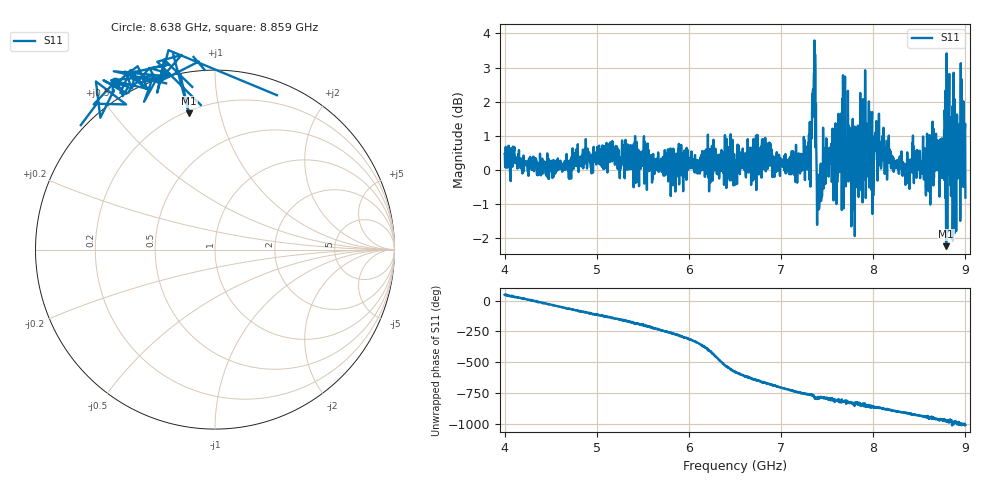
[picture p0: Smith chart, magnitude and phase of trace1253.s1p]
! Created with skrf 1.8.0 (http://scikit-rf.org).
# Hz S RI R 50.0
!freq ReS11 ImS11
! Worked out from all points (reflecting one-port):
!   1601 points, 4 GHz to 9 GHz, reference 50 ohm
!   lowest |S11| = -2.2 dB at 8.791 GHz (marker M1), VSWR 7.79, Z = 10.7 + j40.2 ohm
!   phase of S11 starts at 48 deg and turns -1057 deg over the sweep
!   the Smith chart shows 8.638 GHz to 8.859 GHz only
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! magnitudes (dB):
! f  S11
! 4 GHz  0.5
! 4.625 GHz  -0.1
! 5.162 GHz  0.5
! 5.25 GHz  -0.2
! 5.875 GHz  0.4
! 6.412 GHz  0.4
! 6.5 GHz  -0.3
! 6.806 GHz  0.4
! 7.125 GHz  0.3
! 7.294 GHz  0.2
! 7.347 GHz  2.4
! 7.362 GHz  3.8
! 7.412 GHz  -1.1
! 7.481 GHz  -0.4
! 7.591 GHz  1.4
! 7.669 GHz  0.7
! 7.75 GHz  -0.2
! 7.788 GHz  0.4
! 7.844 GHz  0.4
! 7.928 GHz  1.1
! 7.981 GHz  -0.6
! 8.038 GHz  0.6
! 8.375 GHz  0.0
! 8.791 GHz  -2.2
! 8.822 GHz  1.8
! 8.875 GHz  1.0
! 8.972 GHz  0.8
! 9 GHz  -0.8
